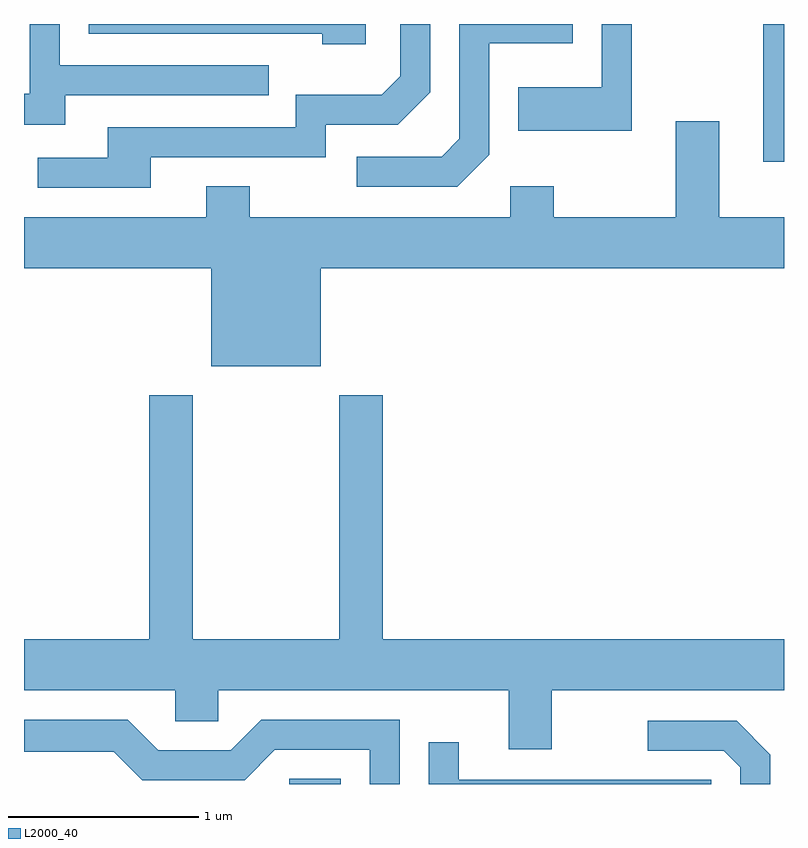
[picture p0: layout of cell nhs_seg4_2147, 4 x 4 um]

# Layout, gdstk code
import gdstk
lib = gdstk.Library(unit=1e-6, precision=1e-09)
def R(c, l, rs):  # rectangles x0, y0, x1, y1
    for r in rs: c.add(gdstk.rectangle(r[:2], r[2:], *l))
def P(c, l, *ps):  # polygons
    for p in ps: c.add(gdstk.Polygon(p, *l))
L2000_40 = (2000, 40)

nhs_seg4_2147 = lib.new_cell('nhs_seg4_2147')
R(nhs_seg4_2147, L2000_40, [(249.008,1331.982,249.279,1332.009), (251.501,1335.256,251.611,1335.982)])
P(nhs_seg4_2147, L2000_40, [(248.279,1335.281),(249.199,1335.281),(249.199,1335.451),(249.577,1335.451),(249.749,1335.624),(249.749,1335.982),(249.591,1335.982),(249.591,1335.707),(249.494,1335.609),(249.041,1335.609),(249.041,1335.439),(248.051,1335.439),(248.051,1335.279),(247.683,1335.279),(247.683,1335.121),(248.279,1335.121)],
  [(247.829,1335.606),(248.898,1335.606),(248.898,1335.764),(247.799,1335.764),(247.799,1335.982),(247.641,1335.982),(247.641,1335.614),(247.611,1335.614),(247.611,1335.451),(247.829,1335.451)],
  [(250.059,1335.294),(250.059,1335.881),(250.499,1335.881),(250.499,1335.982),(249.901,1335.982),(249.901,1335.377),(249.809,1335.284),(249.363,1335.284),(249.363,1335.126),(249.892,1335.126)],
  [(250.809,1335.982),(250.651,1335.982),(250.651,1335.649),(250.211,1335.649),(250.211,1335.421),(250.809,1335.421)],
  [(249.409,1335.982),(247.951,1335.982),(247.951,1335.931),(249.181,1335.931),(249.181,1335.876),(249.409,1335.876)],
  [(249.174,1334.696),(251.611,1334.696),(251.611,1334.964),(251.269,1334.964),(251.269,1335.469),(251.041,1335.469),(251.041,1334.964),(250.399,1334.964),(250.399,1335.129),(250.171,1335.129),(250.171,1334.964),(248.799,1334.964),(248.799,1335.129),(248.571,1335.129),(248.571,1334.964),(247.611,1334.964),(247.611,1334.696),(248.596,1334.696),(248.596,1334.181),(249.174,1334.181)],
  [(250.389,1332.476),(251.611,1332.476),(251.611,1332.744),(249.499,1332.744),(249.499,1334.029),(249.271,1334.029),(249.271,1332.744),(248.499,1332.744),(248.499,1334.029),(248.271,1334.029),(248.271,1332.744),(247.611,1332.744),(247.611,1332.476),(248.406,1332.476),(248.406,1332.311),(248.634,1332.311),(248.634,1332.476),(250.161,1332.476),(250.161,1332.166),(250.389,1332.166)],
  [(249.589,1332.319),(248.859,1332.319),(248.699,1332.159),(248.317,1332.159),(248.157,1332.319),(247.611,1332.319),(247.611,1332.151),(248.084,1332.151),(248.234,1332.001),(248.772,1332.001),(248.932,1332.161),(249.431,1332.161),(249.431,1331.982),(249.589,1331.982)],
  [(251.539,1332.137),(251.362,1332.314),(250.893,1332.314),(250.893,1332.156),(251.294,1332.156),(251.381,1332.069),(251.381,1331.982),(251.539,1331.982)],
  [(251.229,1332.004),(249.899,1332.004),(249.899,1332.203),(249.741,1332.203),(249.741,1331.982),(251.229,1331.982)])

lib.write_gds('nhs_seg4_2147.gds')
